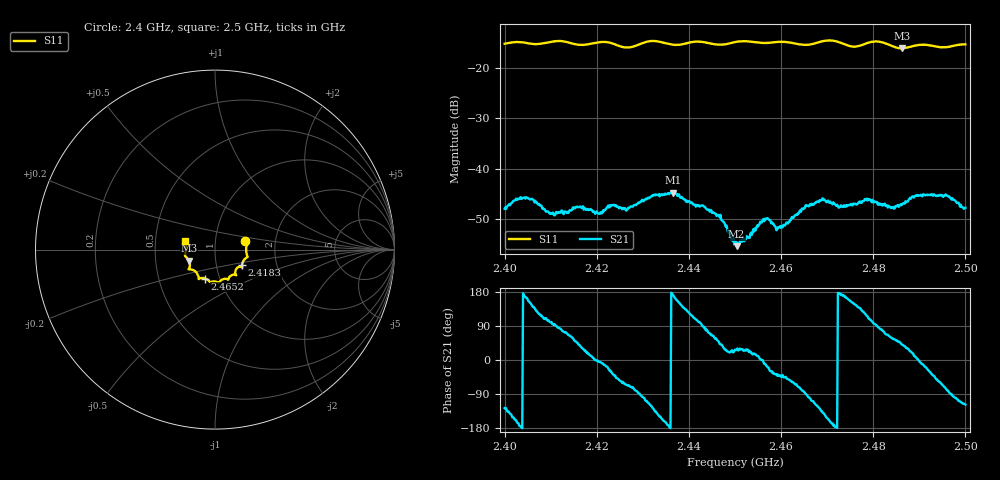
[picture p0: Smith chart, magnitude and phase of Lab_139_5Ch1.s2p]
# Hz S RI R 50
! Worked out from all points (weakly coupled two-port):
!   601 points, 2.4 GHz to 2.5 GHz, reference 50 ohm
!   highest |S21| = -44.74 dB at 2.4365 GHz (marker M1); lowest = -55.4 dB at 2.4503 GHz (marker M2)
!   lowest |S11| = -16.1 dB at 2.4863 GHz (marker M3), VSWR 1.37, Z = 37.1 - j4.74 ohm
!   |S11| at or under -10 dB: start of sweep to end of sweep
!   S12 and S22 are empty: the file has one direction only
!   S11 on the Smith chart (normalised r, x): 2.4 GHz: 1.40, +0.13; 2.4183 GHz: 1.33, -0.24; 2.4652 GHz: 0.85, -0.28; 2.5 GHz: 0.71, +0.07
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2.4e9  0.1682 0.0468  -0.00241 -0.0032  0 0  0 0
2.4045e9  0.1768 0.0228  -0.00491 0.00117  0 0  0 0
2.4105e9  0.1801 -0.0359  -0.000272 0.00366  0 0  0 0
2.416667e9  0.1555 -0.0683  0.00343 0.00223  0 0  0 0
2.418333e9  0.1501 -0.0867  0.00378 0.00101  0 0  0 0
2.426667e9  0.1209 -0.1046  0.00155 -0.00363  0 0  0 0
2.433333e9  0.1171 -0.1416  -0.00446 -0.00315  0 0  0 0
2.4365e9  0.0956 -0.1415  -0.00574 0.000781  0 0  0 0
2.446333e9  0.0509 -0.1633  0.00223 0.00268  0 0  0 0
2.45e9  0.0259 -0.1796  0.00163 0.000847  0 0  0 0
2.450333e9  0.025 -0.1808  0.00152 0.000765  0 0  0 0
2.4565e9  -0.00453 -0.1776  0.00313 -0.000571  0 0  0 0
2.4595e9  -0.0248 -0.1807  0.00196 -0.00175  0 0  0 0
2.465167e9  -0.0545 -0.1611  0.000281 -0.00407  0 0  0 0
2.466667e9  -0.0706 -0.1577  -0.00139 -0.00427  0 0  0 0
2.473e9  -0.0914 -0.1527  -0.00428 0.000636  0 0  0 0
2.478667e9  -0.1387 -0.1102  -0.00218 0.00455  0 0  0 0
2.483333e9  -0.1414 -0.0966  0.0019 0.00385  0 0  0 0
2.486333e9  -0.1441 -0.0622  0.00343 0.00287  0 0  0 0
2.4895e9  -0.1642 -0.0387  0.00536 0.000318  0 0  0 0
2.495833e9  -0.1608 0.0134  0.00128 -0.00536  0 0  0 0
2.5e9  -0.1655 0.0473  -0.00189 -0.00363  0 0  0 0
